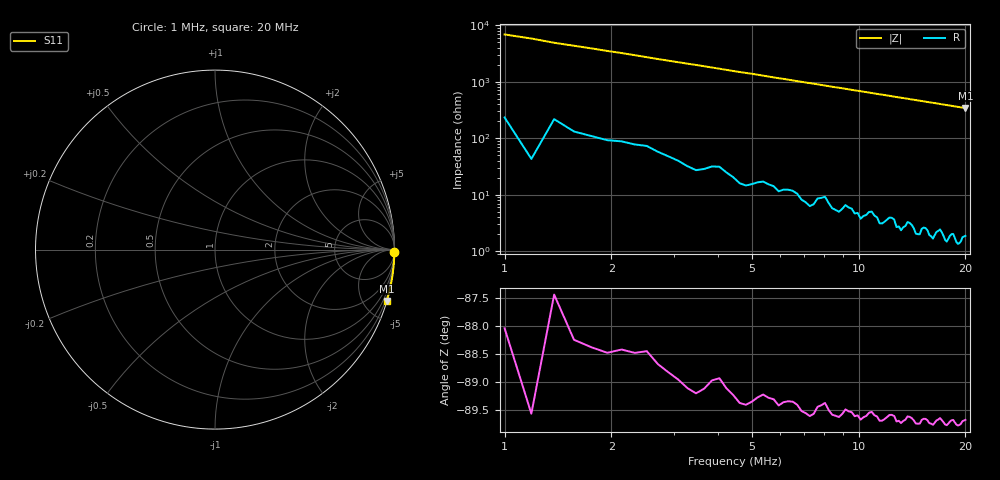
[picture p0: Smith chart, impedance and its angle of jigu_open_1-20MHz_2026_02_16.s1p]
# HZ S RI R 50
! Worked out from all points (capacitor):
!   101 points, 1 MHz to 20 MHz, reference 50 ohm
!   read as one part to ground: C = 23.4 pF near 1 MHz
!   lowest |Z| = 341 ohm at 20 MHz (marker M1)
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1000000  0.9994 -0.0146
1190000  0.9997 -0.0173
1380000  0.9989 -0.0205
3470000  0.998 -0.0505
4040000  0.9972 -0.0589
4800000  0.9968 -0.0699
5750000  0.9955 -0.0838
7270000  0.9937 -0.1057
7650000  0.9928 -0.1108
8220000  0.9918 -0.1195
8790000  0.991 -0.1274
9740000  0.989 -0.1413
1.05e7  0.9874 -0.1519
1.126e7  0.9855 -0.1632
1.164e7  0.9848 -0.1684
1.297e7  0.9813 -0.1876
1.354e7  0.9796 -0.1953
1.43e7  0.9773 -0.2066
1.487e7  0.9758 -0.2142
1.525e7  0.9743 -0.2196
1.582e7  0.9726 -0.2281
1.658e7  0.9699 -0.2383
1.696e7  0.9683 -0.2439
1.772e7  0.966 -0.2547
1.81e7  0.9643 -0.2597
1.848e7  0.9626 -0.2654
1.924e7  0.9601 -0.2757
2e7  0.9565 -0.2864
